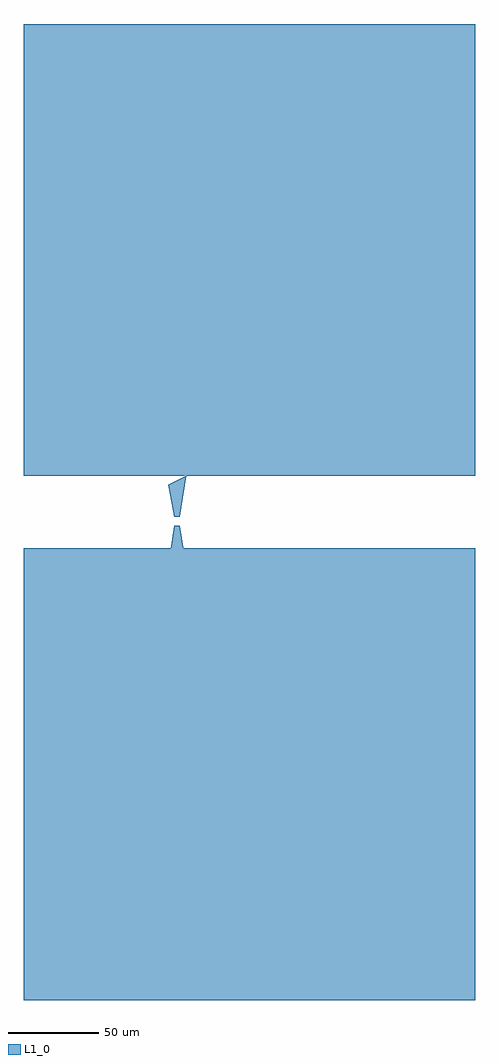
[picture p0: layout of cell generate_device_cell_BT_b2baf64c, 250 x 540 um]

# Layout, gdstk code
import gdstk
lib = gdstk.Library(unit=1e-6, precision=1e-09)
def R(c, l, rs):  # rectangles x0, y0, x1, y1
    for r in rs: c.add(gdstk.rectangle(r[:2], r[2:], *l))
def P(c, l, *ps):  # polygons
    for p in ps: c.add(gdstk.Polygon(p, *l))
L1_0 = (1, 0)

rectangle_s250_250_l1_0_ = lib.new_cell('rectangle_S250_250_L1_0_074ab488')
R(rectangle_s250_250_l1_0_, L1_0, [(0,0,250,250)])

unnamed_78 = lib.new_cell('Unnamed_78')
R(unnamed_78, L1_0, [(233.5,142.5,236.5,147.5)])
unnamed_78.add(gdstk.Reference(rectangle_s250_250_l1_0_, (0,0)))
unnamed_78.add(gdstk.Reference(rectangle_s250_250_l1_0_, (0,290)))

unnamed_79 = lib.new_cell('Unnamed_79')
R(unnamed_79, L1_0, [(230,90,240,120), (230,170,240,200)])
P(unnamed_79, L1_0, [(230,120),(233.5,142.5),(236.5,142.5),(240,120)],
  [(233.5,147.5),(230,165),(240,170),(236.5,147.5)])

generate_device_cell_bt_ = lib.new_cell('generate_device_cell_BT_b2baf64c')
generate_device_cell_bt_.add(gdstk.Reference(unnamed_78, (0,0)))
generate_device_cell_bt_.add(gdstk.Reference(unnamed_79, (-150,120)))

lib.write_gds('generate_device_cell_BT_b2baf64c.gds')
